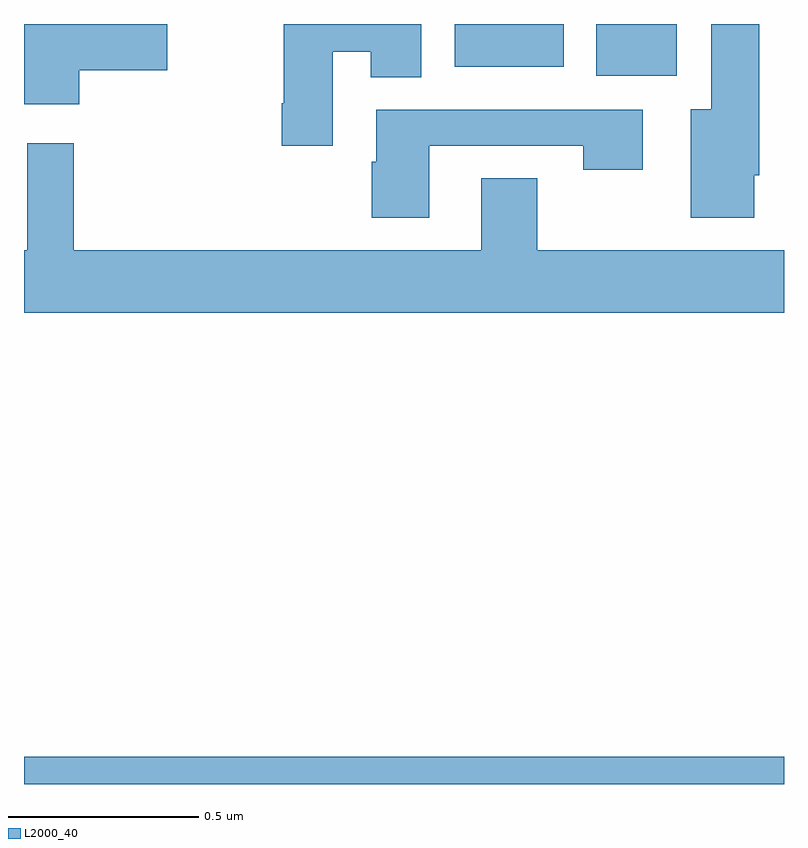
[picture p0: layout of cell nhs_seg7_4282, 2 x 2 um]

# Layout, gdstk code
import gdstk
lib = gdstk.Library(unit=1e-6, precision=1e-09)
def R(c, l, rs):  # rectangles x0, y0, x1, y1
    for r in rs: c.add(gdstk.rectangle(r[:2], r[2:], *l))
def P(c, l, *ps):  # polygons
    for p in ps: c.add(gdstk.Polygon(p, *l))
L2000_40 = (2000, 40)

nhs_seg7_4282 = lib.new_cell('nhs_seg7_4282')
R(nhs_seg7_4282, L2000_40, [(170,1042,172,1042.072), (171.506,1043.864,171.718,1044), (171.134,1043.888,171.421,1044)])
P(nhs_seg7_4282, L2000_40, [(170.812,1043.927),(170.912,1043.927),(170.912,1043.86),(171.046,1043.86),(171.046,1044),(170.683,1044),(170.683,1043.791),(170.678,1043.791),(170.678,1043.679),(170.812,1043.679)],
  [(171.922,1043.602),(171.935,1043.602),(171.935,1044),(171.809,1044),(171.809,1043.776),(171.755,1043.776),(171.755,1043.49),(171.922,1043.49)],
  [(170.146,1043.878),(170.377,1043.878),(170.377,1044),(170,1044),(170,1043.789),(170.146,1043.789)],
  [(171.067,1043.679),(171.472,1043.679),(171.472,1043.616),(171.628,1043.616),(171.628,1043.775),(170.927,1043.775),(170.927,1043.637),(170.915,1043.637),(170.915,1043.49),(171.067,1043.49)],
  [(172,1043.404),(171.351,1043.404),(171.351,1043.594),(171.203,1043.594),(171.203,1043.404),(170.131,1043.404),(170.131,1043.686),(170.009,1043.686),(170.009,1043.404),(170,1043.404),(170,1043.24),(172,1043.24)])

lib.write_gds('nhs_seg7_4282.gds')
